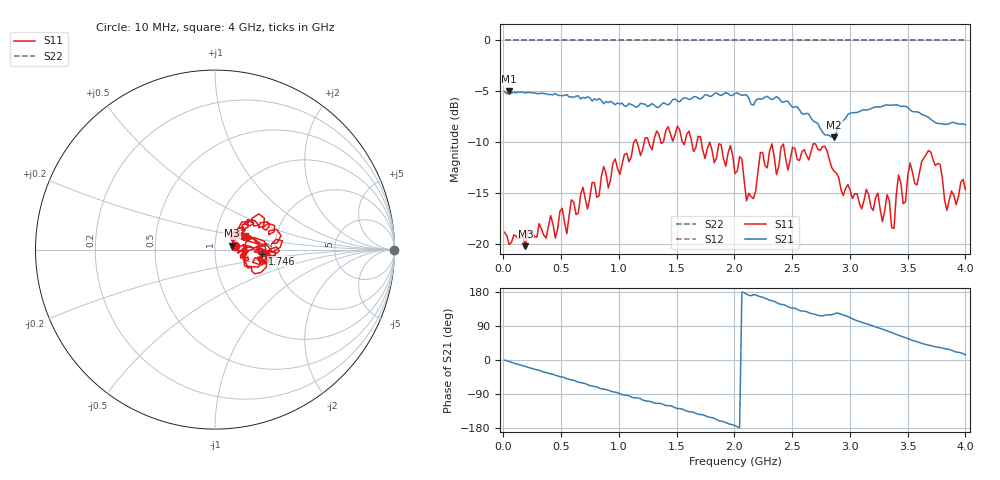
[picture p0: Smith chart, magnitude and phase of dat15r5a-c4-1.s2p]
! Anritsu VNA Master:  Model: MS2024B
! SN:  2417009
! /card0/usr/dat15r5a-c4-1.s2p
! Existing Calibration Information:
! TYPE:  Current Settings,  Active Cal Settings
! TIME:  11/03/2026 02:57:16 PM,  11/03/2026 01:15:51 PM
! INTERNAL TEMP:  49.0 C,  37.0 C
! # POINTS:  201,  201
! START FREQ:  10.000 MHz,  10.000 MHz
! STOP FREQ:  4.000 GHz,  4.000 GHz
! SOURCE POWER:  Default,  Default
! IFBW:  1 kHz,  1 kHz
! AVG FACTOR:  1 ,  1
! REF PLANE 1:  0 mm,  0 mm
! REF PLANE 2:  0 mm,  0 mm
! CAL TYPE:  1P2P S11,S21,  1P2P S11,S21
! CAL METHOD:  SOLT,  SOLT
! CAL LINE TYPE:  Coax,  Coax
! DUT PORT 1:  N-Conn(M),  N-Conn(M)
! DUT PORT 2:  N-Conn(M),  N-Conn(M)
! CAL STATUS:  X: Accuracy low (|Temp diff| > 10.0 C),  --
# GHZ S DB R 50.0
! FREQ.GHZ  S11DB  S11A  S21DB  S21A  S12DB  S12A  S22DB  S22A
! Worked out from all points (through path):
!   201 points, 10 MHz to 4 GHz, reference 50 ohm
!   highest |S21| = -5.00 dB at 49.9 MHz (marker M1); lowest = -9.5 dB at 2.863 GHz (marker M2)
!   group delay of S21, straight-line fit = 238 ps
!   lowest |S11| = -20.2 dB at 189.6 MHz (marker M3), VSWR 1.22, Z = 60.4 + j2.72 ohm
!   |S11| at or under -10 dB: start of sweep to 1.13 GHz; 1.155 GHz to 1.219 GHz (63.99 MHz wide, 5.39 % of centre); 1.714 GHz to end of sweep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
!   |S22| runs from 0.0 to 0.0 dB; largest |S21 - S12| = 1.6
!   S11 on the Smith chart (normalised r, x): 10 MHz: 1.25, +0.05; 1.746 GHz: 1.71, -0.08; 4 GHz: 1.39, +0.21
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0.01  -18.88 10.4  -5.03 -0.4  0.00 0.0  0.00 0.0
0.0499  -20.09 -1.9  -5.00 -4.2  0.00 0.0  0.00 0.0
0.18955  -20.24 13.3  -5.17 -16.8  0.00 0.0  0.00 0.0
0.50875  -16.52 35.6  -5.43 -44.8  0.00 0.0  0.00 0.0
0.54865  -19.02 35.3  -5.33 -49.4  0.00 0.0  0.00 0.0
0.6883  -14.45 33.9  -5.60 -61.0  0.00 0.0  0.00 0.0
1.34665  -9.26 16.8  -6.57 -114.1  0.00 0.0  0.00 0.0
1.74565  -11.61 -4.9  -5.34 -146.6  0.00 0.0  0.00 0.0
2.005  -13.09 -18.6  -5.23 -172.9  0.00 0.0  0.00 0.0
2.1646  -15.57 7.4  -6.36 172.3  0.00 0.0  0.00 0.0
2.22445  -11.04 9.4  -5.78 167.0  0.00 0.0  0.00 0.0
2.6833  -10.15 -5.9  -7.92 121.2  0.00 0.0  0.00 0.0
2.86285  -12.85 -26.4  -9.53 121.4  0.00 0.0  0.00 0.0
3.34165  -15.76 9.3  -6.37 74.5  0.00 0.0  0.00 0.0
3.38155  -18.49 -2.7  -6.35 70.3  0.00 0.0  0.00 0.0
3.42145  -13.24 0.8  -6.39 65.4  0.00 0.0  0.00 0.0
3.4813  -15.88 6.3  -6.48 58.9  0.00 0.0  0.00 0.0
3.5212  -12.06 4.4  -6.83 54.1  0.00 0.0  0.00 0.0
3.58105  -14.22 26.6  -7.03 48.1  0.00 0.0  0.00 0.0
3.6808  -10.83 6.6  -7.57 39.2  0.00 0.0  0.00 0.0
3.8404  -16.71 25.6  -8.25 28.6  0.00 0.0  0.00 0.0
4  -14.69 23.5  -8.31 13.7  0.00 0.0  0.00 0.0
